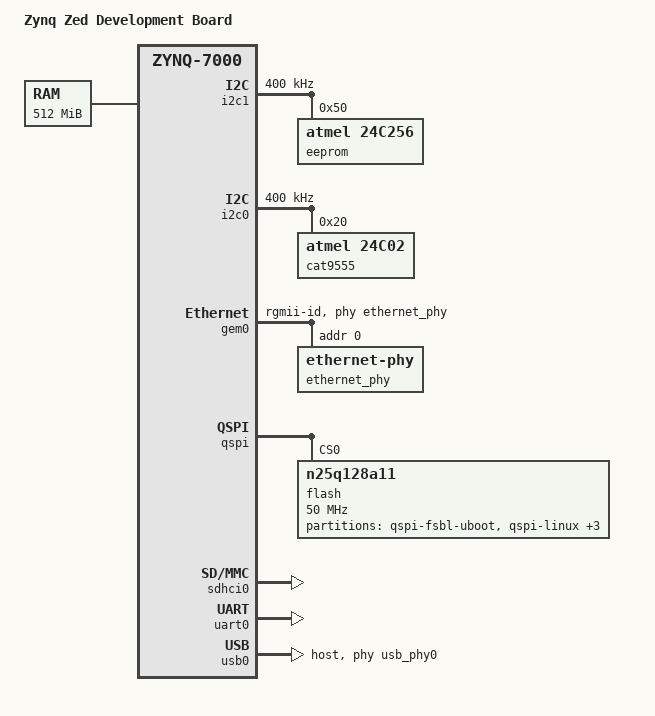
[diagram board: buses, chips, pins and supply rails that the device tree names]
/*
 *  Copyright (C) 2011 - 2014 Xilinx
 *  Copyright (C) 2012 National Instruments Corp.
 *
 * This software is licensed under the terms of the GNU General Public
 * License version 2, as published by the Free Software Foundation, and
 * may be copied, distributed, and modified under those terms.
 *
 * This program is distributed in the hope that it will be useful,
 * but WITHOUT ANY WARRANTY; without even the implied warranty of
 * MERCHANTABILITY or FITNESS FOR A PARTICULAR PURPOSE.  See the
 * GNU General Public License for more details.
 */
/dts-v1/;
#include "zynq-7000.dtsi"
/*
#include "zynq-zed-pl.dtsi"
*/
/ {
	model = "Zynq Zed Development Board";
	compatible = "xlnx,zynq-zed", "xlnx,zynq-7000";

	/*myled{
		compatible = "dglnt,dled-1.00.a";
		reg = <0x43c00000  0x10000>;
	};*/
	
	aliases {
		ethernet0 = &gem0;
		serial0 = &uart0;
		spi0 = &qspi;
		mmc0 = &sdhci0;
	};

	memory {
		device_type = "memory";
		reg = <0x0 0x20000000>;
	};

	chosen {
		bootargs = "";
		stdout-path = "serial0:115200n8";
	};

	usb_phy0: phy0 {
		compatible = "ulpi-phy";
		#phy-cells = <0>;
		reg = <0xe0002000 0x1000>;
		view-port = <0x0170>;
		drv-vbus;
	};
	/*ps7_axi_interconnect_0: axi@0 {
		#address-cells = <1>;
		#size-cells = <1>;
		compatible = "xlnx,ps7-axi-interconnect-1.00.a", "simple-bus";
		ranges;
		
		axi_i2c_0: axi-i2c@41600000 {
			compatible = "xlnx,xps-iic-2.00.a";
			status = "ok";
			clocks = <&clkc 15>;
			interrupt-parent = <&intc>;
			interrupts = <0 32 4>;
			reg = <0x41600000 0x10000>;
			#address-cells = <1>;
			#size-cells = <0>;
			clock-frequency = <400000>;	

			cat9555@20 {
				compatible = "atmel,24c08";
				reg = <0x20>;
			};		
		};
		axi_i2c_1: axi-i2c@41610000 {
			compatible = "xlnx,xps-iic-2.00.a";
			status = "ok";
			clocks = <&clkc 15>;
			interrupt-parent = <&intc>;
			interrupts = <0 33 4>;
			reg = <0x41610000 0x10000>;
			#address-cells = <1>;
			#size-cells = <0>;
			clock-frequency = <400000>;	

			cat9555@20 {
				compatible = "atmel,24c08";
				reg = <0x20>;
			};		
		};
		axi_i2c_2: axi-i2c@41620000 {
			compatible = "xlnx,xps-iic-2.00.a";
			status = "ok";
			clocks = <&clkc 15>;
			interrupt-parent = <&intc>;
			interrupts = <0 34 4>;
			reg = <0x41620000 0x10000>;
			#address-cells = <1>;
			#size-cells = <0>;
			clock-frequency = <400000>;	

			cat9555@20 {
				compatible = "atmel,24c08";
				reg = <0x20>;
			};		
		};		
	};*/
};

&i2c1 {
	status = "ok";
	clock-frequency = <400000>;	
	
	eeprom@50 {
		compatible = "atmel,24c256";
		reg = <0x50>;
	};
};
&i2c0 {
	status = "ok";
	clock-frequency = <400000>;	
	
	cat9555@50 {
		compatible = "atmel,24c02";
		reg = <0x20>;
	};
};


&clkc {
	ps-clk-frequency = <33333333>;
};

&gem0 {
	status = "okay";
	phy-mode = "rgmii-id";
	phy-handle = <&ethernet_phy>;

	ethernet_phy: ethernet-phy@0 {
		reg = <0>;
	};
};

&qspi {
	status = "okay";
	is-dual = <0>;
	num-cs = <1>;
	flash@0 {
		compatible = "n25q128a11";
		reg = <0x0>;
		spi-tx-bus-width = <1>;
		spi-rx-bus-width = <4>;
		spi-max-frequency = <50000000>;
		#address-cells = <1>;
		#size-cells = <1>;
		partition@qspi-fsbl-uboot {
			label = "qspi-fsbl-uboot";
			reg = <0x0 0x100000>;
		};
		partition@qspi-linux {
			label = "qspi-linux";
			reg = <0x100000 0x500000>;
		};
		partition@qspi-device-tree {
			label = "qspi-device-tree";
			reg = <0x600000 0x20000>;
		};
		partition@qspi-rootfs {
			label = "qspi-rootfs";
			reg = <0x620000 0x5E0000>;
		};
		partition@qspi-bitstream {
			label = "qspi-bitstream";
			reg = <0xC00000 0x400000>;
		};
	};
};

&sdhci0 {
	status = "okay";
};

&uart0 {
	status = "okay";
};

&usb0 {
	status = "okay";
	dr_mode = "host";
	usb-phy = <&usb_phy0>;
};
